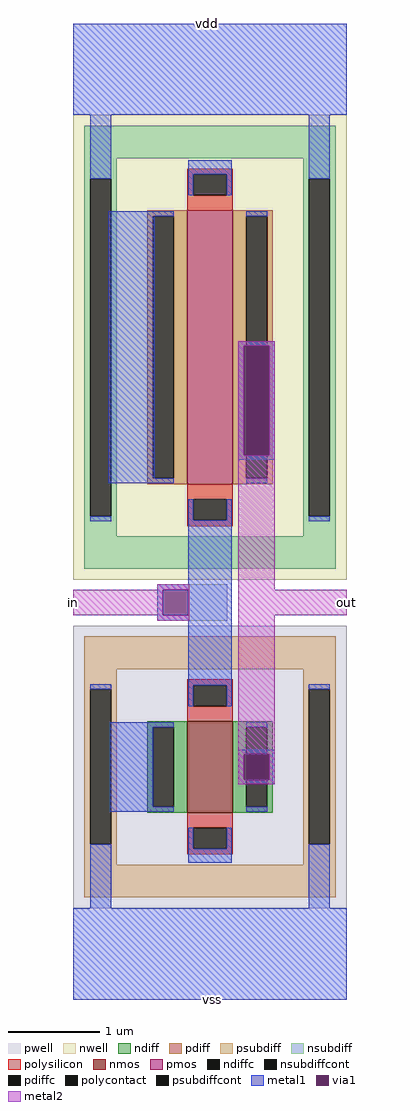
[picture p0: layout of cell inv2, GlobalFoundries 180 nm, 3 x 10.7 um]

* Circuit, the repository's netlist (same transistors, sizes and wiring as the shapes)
* NGSPICE file created from inv2.ext - technology: gf180mcuD

.subckt pfet_03v3_LJVJK4 w_n300_n510# a_n138_n300# a_n50_n392# a_50_n300#
X0 a_50_n300# a_n50_n392# a_n138_n300# w_n300_n510# pfet_03v3 ad=1.32p pd=6.88u as=1.32p ps=6.88u w=3u l=0.5u
.ends

.subckt nfet_03v3_EKBWUP a_n138_n100# a_n50_n192# a_50_n100# a_n276_n286#
X0 a_50_n100# a_n50_n192# a_n138_n100# a_n276_n286# nfet_03v3 ad=0.44p pd=2.88u as=0.44p ps=2.88u w=1u l=0.5u
.ends

.subckt inv2 in vdd out vss
XM1 vdd vdd in out pfet_03v3_LJVJK4
XM2 vss in out vss nfet_03v3_EKBWUP
.ends

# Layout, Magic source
magic
tech gf180mcuD
magscale 1 10
<< pwell >>
rect 1502 -539 1588 -459
<< metal1 >>
rect 1250 570 1850 770
rect 1287 441 1333 570
rect 1502 439 1598 470
rect 1767 441 1813 570
rect 1327 -238 1429 358
rect 1612 63 1692 73
rect 1612 -177 1624 63
rect 1680 -177 1692 63
rect 1612 -187 1692 -177
rect 1502 -460 1598 -319
rect 1434 -472 1598 -460
rect 1434 -528 1446 -472
rect 1502 -528 1598 -472
rect 1434 -540 1598 -528
rect 1502 -681 1598 -540
rect 1330 -958 1426 -762
rect 1612 -832 1692 -822
rect 1612 -888 1624 -832
rect 1680 -888 1692 -832
rect 1612 -898 1692 -888
rect 1287 -1170 1333 -1041
rect 1502 -1070 1598 -1039
rect 1767 -1170 1813 -1041
rect 1250 -1370 1850 -1170
<< via1 >>
rect 1624 -177 1680 63
rect 1446 -528 1502 -472
rect 1624 -888 1680 -832
<< metal2 >>
rect 1612 63 1692 73
rect 1612 -177 1624 63
rect 1680 -177 1692 63
rect 1434 -472 1504 -460
rect 1250 -528 1446 -472
rect 1502 -528 1504 -472
rect 1434 -540 1504 -528
rect 1612 -472 1692 -177
rect 1612 -528 1850 -472
rect 1612 -832 1692 -528
rect 1612 -888 1624 -832
rect 1680 -888 1692 -832
rect 1612 -898 1692 -888
use pfet_03v3_LJVJK4  M1
transform 1 0 1550 0 1 60
box -300 -510 300 510
use nfet_03v3_EKBWUP  M2
transform 1 0 1550 0 1 -860
box -300 -310 300 310
<< labels >>
rlabel metal2 1250 -499 1250 -499 7 in
port 0 w
rlabel metal1 1545 770 1545 770 1 vdd
port 1 n
rlabel metal2 1850 -499 1850 -499 3 out
port 2 e
rlabel metal1 1555 -1370 1555 -1370 5 vss
port 3 s
<< end >>

# cell pfet_03v3_LJVJK4: kit device pfet_03v3, w 3.0 l 0.5 m 1 nf 1 diffcov 100 polycov 100 guard 1 glc 1 grc 1 gtc 0 gbc 0 tbcov 100 rlcov 100 topc 1 botc 1 poverlap 0 doverlap 1 lmin 0.28 wmin 0.22 class mosfet full_metal 0 compatible {pfet_03v3 pfet_06v0}

# cell nfet_03v3_EKBWUP: kit device nfet_03v3, w 1.0 l 0.5 m 1 nf 1 diffcov 100 polycov 100 guard 1 glc 1 grc 1 gtc 0 gbc 0 tbcov 100 rlcov 100 topc 1 botc 1 poverlap 0 doverlap 1 lmin 0.28 wmin 0.22 class mosfet full_metal 0 compatible {nfet_03v3 nfet_06v0 nfet_06v0_nvt}
